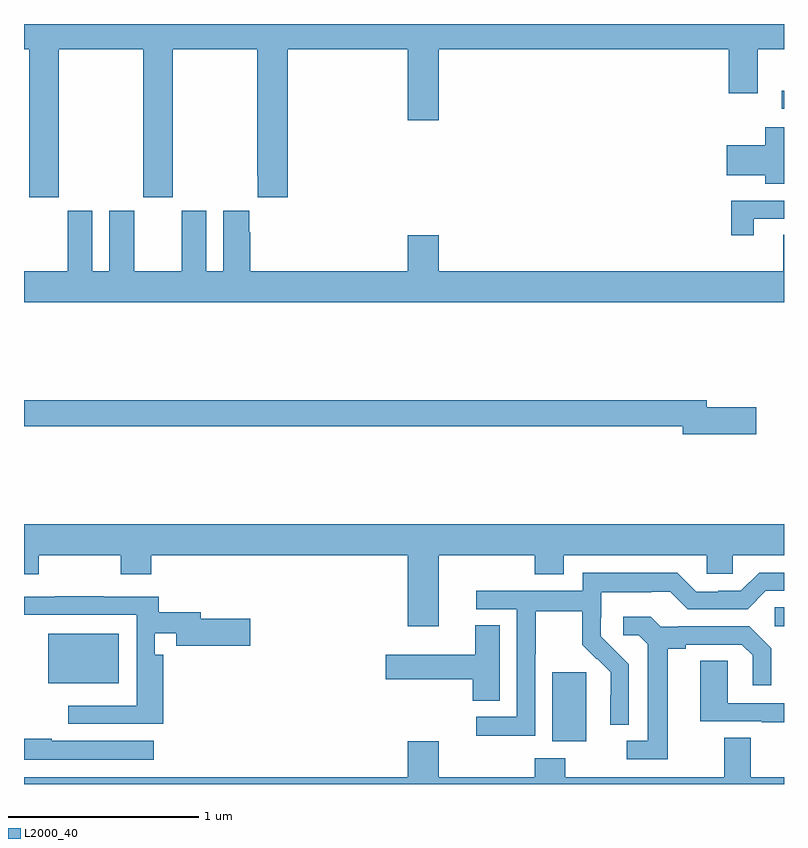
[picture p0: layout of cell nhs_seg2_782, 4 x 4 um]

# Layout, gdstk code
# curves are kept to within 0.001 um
import gdstk
lib = gdstk.Library(unit=1e-6, precision=1e-09)
def R(c, l, rs):  # rectangles x0, y0, x1, y1
    for r in rs: c.add(gdstk.rectangle(r[:2], r[2:], *l))
def P(c, l, *ps):  # polygons
    for p in ps: c.add(gdstk.Polygon(p, *l))
L2000_40 = (2000, 40)

nhs_seg2_782 = lib.new_cell('nhs_seg2_782')
R(nhs_seg2_782, L2000_40, [(153.779,612.026,153.958,612.387), (151.127,612.329,151.498,612.592), (154.95,612.63,155,612.731), (154.989,615.354,155,615.45)])
P(nhs_seg2_782, L2000_40, [(151.182,615.668),(151.627,615.668),(151.627,614.889),(151.782,614.889),(151.782,615.668),(152.227,615.668),(152.227,615.001),(152.231,615.001),(152.231,614.889),(152.387,614.889),(152.387,615.668),(153.02,615.668),(153.02,615.294),(153.184,615.294),(153.184,615.668),(154.709,615.668),(154.709,615.435),(154.861,615.435),(154.861,615.668),(155,615.668),(155,615.8),(151,615.8),(151,615.668),(151.027,615.668),(151.027,614.889),(151.182,614.889)],
  [(155,615.256),(154.901,615.256),(154.901,615.163),(154.698,615.163),(154.698,615.005),(154.901,615.005),(154.901,614.96),(155,614.96)],
  [(154.84,614.775),(155,614.775),(155,614.871),(154.723,614.871),(154.723,614.688),(154.84,614.688)],
  [(151.229,614.818),(151.229,614.5),(151,614.5),(151,614.336),(155,614.336),(155,614.69),(154.997,614.69),(154.997,614.5),(153.184,614.5),(153.184,614.689),(153.02,614.689),(153.02,614.5),(152.192,614.5),(152.192,614.705),(152.185,614.705),(152.185,614.818),(152.048,614.818),(152.048,614.5),(151.96,614.5),(151.96,614.818),(151.829,614.818),(151.829,614.5),(151.579,614.5),(151.579,614.818),(151.448,614.818),(151.448,614.5),(151.36,614.5),(151.36,614.818)],
  [(154.855,613.784),(154.594,613.784),(154.594,613.82),(151,613.82),(151,613.684),(154.466,613.684),(154.466,613.642),(154.855,613.642)],
  [(153.184,613.004),(153.689,613.004),(153.689,612.905),(153.841,612.905),(153.841,613.004),(154.593,613.004),(154.593,612.906),(154.731,612.906),(154.731,613.004),(155,613.004),(155,613.168),(151,613.168),(151,612.905),(151.077,612.905),(151.077,613.004),(151.51,613.004),(151.51,612.905),(151.67,612.905),(151.67,613.004),(153.02,613.004),(153.02,612.63),(153.184,612.63)],
  [(153.69,612.484),(153.693,612.484),(153.693,612.708),(153.937,612.708),(153.937,612.533),(154.014,612.456),(154.017,612.459),(154.088,612.389),(154.088,612.266),(154.086,612.266),(154.086,612.112),(154.182,612.112),(154.182,612.43),(154.036,612.578),(154.036,612.675),(154.038,612.675),(154.038,612.809),(154.301,612.809),(154.301,612.813),(154.401,612.813),(154.494,612.72),(154.809,612.72),(154.905,612.816),(155,612.816),(155,612.912),(154.869,612.912),(154.773,612.816),(154.655,612.816),(154.655,612.813),(154.539,612.813),(154.439,612.913),(153.942,612.913),(153.942,612.816),(153.381,612.816),(153.381,612.72),(153.594,612.72),(153.594,612.153),(153.381,612.153),(153.381,612.055),(153.69,612.055)],
  [(151.733,612.481),(151.689,612.481),(151.689,612.594),(151.802,612.594),(151.802,612.527),(152.191,612.527),(152.191,612.669),(151.93,612.669),(151.93,612.703),(151.709,612.703),(151.709,612.786),(151.421,612.786),(151.421,612.788),(151.165,612.788),(151.165,612.786),(151,612.786),(151,612.69),(151.593,612.69),(151.593,612.213),(151.233,612.213),(151.233,612.117),(151.733,612.117)],
  [(154.387,612.512),(154.483,612.512),(154.483,612.534),(154.778,612.534),(154.835,612.477),(154.835,612.321),(154.932,612.321),(154.932,612.514),(154.816,612.63),(154.444,612.63),(154.444,612.627),(154.35,612.627),(154.298,612.679),(154.155,612.679),(154.155,612.582),(154.236,612.582),(154.283,612.535),(154.283,612.027),(154.173,612.027),(154.173,611.931),(154.387,611.931)],
  [(153.505,612.635),(153.374,612.635),(153.374,612.481),(152.904,612.481),(152.904,612.352),(153.362,612.352),(153.362,612.238),(153.505,612.238)],
  [(155,612.225),(154.704,612.225),(154.704,612.449),(154.559,612.449),(154.559,612.129),(154.883,612.129),(154.883,612.125),(155,612.125)],
  [(155,611.836),(154.825,611.836),(154.825,612.044),(154.685,612.044),(154.685,611.836),(153.849,611.836),(153.849,611.935),(153.689,611.935),(153.689,611.836),(153.184,611.836),(153.184,612.025),(153.02,612.025),(153.02,611.836),(151,611.836),(151,611.8),(155,611.8)],
  [(151.684,612.028),(151.145,612.028),(151.145,612.038),(151,612.038),(151,611.927),(151.684,611.927)])

lib.write_gds('nhs_seg2_782.gds')
